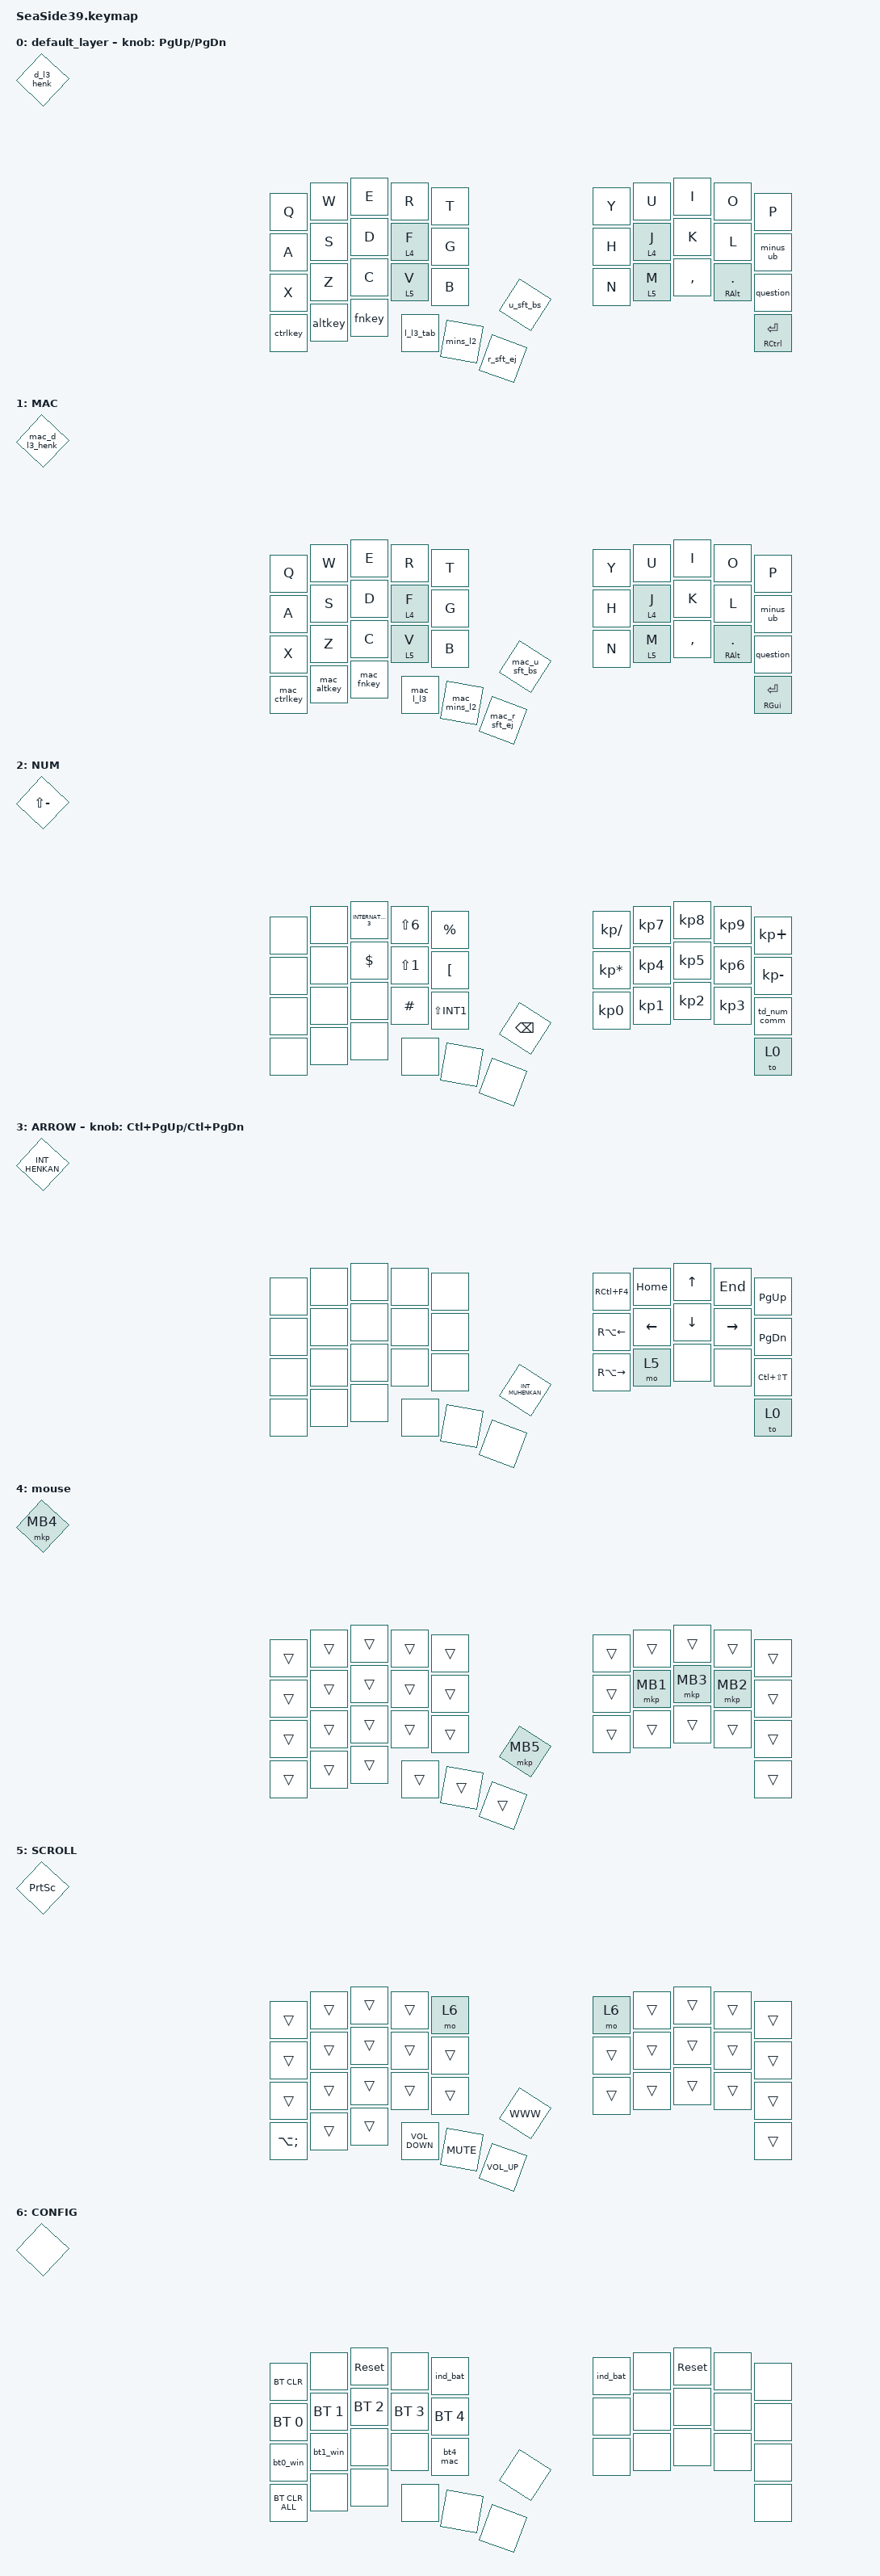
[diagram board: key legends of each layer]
#include <behaviors/rgbled_widget.dtsi>
#include <behaviors.dtsi>
#include <dt-bindings/zmk/bt.h>
#include <dt-bindings/zmk/keys.h>
#include <dt-bindings/zmk/pointing.h>

&mt {
    flavor = "balanced";
    quick-tap-ms = <300>;
};

&lt {
    flavor = "balanced";
    quick-tap-ms = <300>;
};

/ {
    combos {
        compatible = "zmk,combos";

        lgui {
            bindings = <&kp LEFT_GUI>;
            key-positions = <13 14>;
            layers = <0>;
        };

        rgui {
            bindings = <&kp RIGHT_GUI>;
            key-positions = <15 16>;
            layers = <0>;
        };

        esc {
            bindings = <&kp ESCAPE>;
            key-positions = <0 1>;
        };

        tab {
            bindings = <&kp TAB>;
            key-positions = <10 11>;
        };

        caps {
            bindings = <&kp CAPSLOCK>;
            key-positions = <20 21>;
        };

        del {
            bindings = <&kp DELETE>;
            key-positions = <5 6>;
        };

        mu1 {
            bindings = <&mkp MB1>;
            key-positions = <16 17>;
        };

        mb2 {
            bindings = <&mkp MB2>;
            key-positions = <17 18>;
        };

        mb3 {
            bindings = <&mkp MB3>;
            key-positions = <7 17>;
        };

        lbrc {
            bindings = <&kp RIGHT_BRACKET>;
            key-positions = <2 4>;
        };

        rbrc {
            bindings = <&kp BACKSLASH>;
            key-positions = <5 7>;
        };

        lkako {
            bindings = <&kp LS(NUMBER_8)>;
            key-positions = <12 14>;
        };

        rkako {
            bindings = <&kp LS(NUMBER_9)>;
            key-positions = <15 17>;
        };

        lsbr {
            bindings = <&kp LS(RIGHT_BRACKET)>;
            key-positions = <22 24>;
        };

        rsbr {
            bindings = <&kp LS(BACKSLASH)>;
            key-positions = <25 27>;
        };

        f2 {
            bindings = <&kp F2>;
            key-positions = <1 34>;
        };

        f3 {
            bindings = <&kp F3>;
            key-positions = <34 2>;
        };

        f4 {
            bindings = <&kp F4>;
            key-positions = <34 3>;
        };

        f5 {
            bindings = <&kp F5>;
            key-positions = <4 34>;
        };

        f6 {
            bindings = <&kp F6>;
            key-positions = <10 34>;
        };

        f7 {
            bindings = <&kp F7>;
            key-positions = <34 11>;
        };

        f8 {
            bindings = <&kp F8>;
            key-positions = <34 12>;
        };

        f9 {
            bindings = <&kp F9>;
            key-positions = <34 13>;
        };

        f10 {
            bindings = <&kt F10>;
            key-positions = <34 14>;
        };

        f11 {
            bindings = <&kp F11>;
            key-positions = <23 34>;
        };

        f12 {
            bindings = <&kp F12>;
            key-positions = <34 24>;
        };

        num {
            bindings = <&tog 2>;
            key-positions = <37 17 16 18>;
        };

        m_k1 {
            bindings = <&m_bracket>;
            key-positions = <2 3 4>;
        };

        m_k2 {
            bindings = <&m_kako>;
            key-positions = <12 13 14>;
        };

        m_k3 {
            bindings = <&m_sbracket>;
            key-positions = <22 23 24>;
        };

        arrow {
            bindings = <&tog 3>;
            key-positions = <6 7 8 37>;
        };

        WIN {
            bindings = <&to 0>;
            key-positions = <1 7 25>;
        };

        MAC {
            bindings = <&to 1>;
            key-positions = <10 22 26>;
        };

        mac_lctl {
            bindings = <&kp LCTRL>;
            key-positions = <13 14>;
            layers = <1>;
        };

        mac_rctl {
            bindings = <&kp RCTRL>;
            key-positions = <15 16>;
            layers = <1>;
        };

        up {
            bindings = <&kp UP_ARROW>;
            key-positions = <6 8>;
        };

        dw {
            bindings = <&kp DOWN>;
            key-positions = <16 18>;
        };

        le {
            bindings = <&kp LEFT>;
            key-positions = <6 7>;
        };

        ri {
            bindings = <&kp RIGHT>;
            key-positions = <7 8>;
        };
    };

    macros {
        to_layer_0: to_layer_0 {
            compatible = "zmk,behavior-macro-one-param";
            #binding-cells = <1>;
            bindings = <&to 0 &macro_param_1to1 &kp MACRO_PLACEHOLDER>;
            label = "TO_LAYER_0";
        };

        m_bracket: m_bracket {
            compatible = "zmk,behavior-macro";
            #binding-cells = <0>;
            bindings =
                <&macro_tap>,
                <&kp LANG1>,
                <&macro_release>,
                <&macro_tap>,
                <&kp RIGHT_BRACKET>,
                <&macro_release>,
                <&macro_tap>,
                <&kp BACKSLASH>,
                <&macro_release>,
                <&macro_tap>,
                <&kp ENTER>,
                <&macro_release>,
                <&macro_tap>,
                <&kp LEFT_ARROW>,
                <&macro_release>;

            label = "M_BRACKET";
        };

        m_kako: m_kako {
            compatible = "zmk,behavior-macro";
            #binding-cells = <0>;
            bindings =
                <&macro_tap>,
                <&kp LANGUAGE_2>,
                <&macro_release>,
                <&macro_tap>,
                <&kp LS(N8)>,
                <&macro_release>,
                <&macro_tap>,
                <&kp LS(N9)>,
                <&macro_release>,
                <&macro_tap>,
                <&kp LEFT_ARROW>,
                <&macro_release>;

            label = "M_KAKO";
        };

        m_sbracket: m_sbracket {
            compatible = "zmk,behavior-macro";
            #binding-cells = <0>;
            bindings =
                <&macro_tap>,
                <&kp LANGUAGE_2>,
                <&macro_release>,
                <&macro_tap>,
                <&kp LS(RIGHT_BRACKET)>,
                <&macro_release>,
                <&macro_tap>,
                <&kp LS(BACKSLASH)>,
                <&macro_release>,
                <&macro_tap>,
                <&kp LEFT_ARROW>,
                <&macro_release>;

            label = "M_SBRACKET";
        };

        bt0_win: bt0towin {
            compatible = "zmk,behavior-macro";
            #binding-cells = <0>;
            bindings =
                <&macro_tap>,
                <&bt BT_SEL 0>,
                <&macro_release>,
                <&macro_tap>,
                <&to 0>,
                <&macro_release>;

            label = "BT0TOWIN";
        };

        bt1_win: bt1_win {
            compatible = "zmk,behavior-macro";
            #binding-cells = <0>;
            bindings =
                <&macro_tap>,
                <&bt BT_SEL 1>,
                <&macro_release>,
                <&macro_tap>,
                <&to 0>,
                <&macro_release>;

            label = "BT1_WIN";
        };

        bt4_mac: bt4_mac {
            compatible = "zmk,behavior-macro";
            #binding-cells = <0>;
            bindings =
                <&macro_tap>,
                <&bt BT_SEL 4>,
                <&macro_release>,
                <&macro_tap>,
                <&to 1>,
                <&macro_release>;

            label = "BT4_MAC";
        };
    };

    behaviors {
        td_quot: td_quot {
            compatible = "zmk,behavior-tap-dance";
            label = "TD_QUOT";
            #binding-cells = <0>;
            bindings = <&lt 5 LS(NUMBER_2)>, <&kp RS(N7)>;

            tapping-term-ms = <200>;
        };

        td_coln: td_coln {
            compatible = "zmk,behavior-tap-dance";
            label = "TD_COLN";
            #binding-cells = <0>;
            bindings = <&mt_tr190 LEFT_ALT SINGLE_QUOTE>, <&kp SEMI>;

            tapping-term-ms = <200>;
        };

        td_ej: td_ej {
            compatible = "zmk,behavior-tap-dance";
            label = "TD_EJ";
            #binding-cells = <0>;
            bindings = <&mt_tr190 LSHFT LANGUAGE_2>, <&kp LANGUAGE_1>;

            tapping-term-ms = <190>;
        };

        td_num_comm: td_num_comm {
            compatible = "zmk,behavior-tap-dance";
            label = "TD_NUM_COMM";
            #binding-cells = <0>;
            bindings = <&kp KP_DOT>, <&kp COMMA>;

            tapping-term-ms = <180>;
        };

        lt_tr190: lt_tr190 {
            compatible = "zmk,behavior-hold-tap";
            label = "LT_TR190";
            bindings = <&mo>, <&kp>;

            #binding-cells = <2>;
            tapping-term-ms = <190>;
            flavor = "tap-preferred";
            quick-tap-ms = <190>;
        };

        mt_tr190: mt_tr190 {
            compatible = "zmk,behavior-hold-tap";
            label = "MT_TR190";
            bindings = <&kp>, <&kp>;

            #binding-cells = <2>;
            tapping-term-ms = <190>;
            flavor = "hold-preferred";
            quick-tap-ms = <190>;
        };

        minus_ub: minus_ub {
            compatible = "zmk,behavior-mod-morph";
            label = "MINUS_UB";
            bindings = <&kp MINUS>, <&kp LS(INTERNATIONAL_1)>;

            #binding-cells = <0>;
            mods = <(MOD_RSFT|MOD_LSFT)>;
        };

        question: question {
            compatible = "zmk,behavior-mod-morph";
            label = "QUESTION";
            bindings = <&kp LS(SLASH)>, <&kp SLASH>;

            #binding-cells = <0>;
            mods = <(MOD_LSFT|MOD_RSFT)>;
        };

        fnkey: fnkey {
            compatible = "zmk,behavior-mod-morph";
            label = "FNKEY";
            bindings = <&td_quot>, <&kp LS(LEFT_BRACKET)>;

            #binding-cells = <0>;
            mods = <(MOD_LSFT|MOD_RSFT)>;
        };

        altkey: altkey {
            compatible = "zmk,behavior-mod-morph";
            label = "ALTKEY";
            bindings = <&td_coln>, <&kp LS(INTERNATIONAL_3)>;

            #binding-cells = <0>;
            mods = <(MOD_LSFT|MOD_RSFT)>;
        };

        ctrlkey: ctrlkey {
            compatible = "zmk,behavior-mod-morph";
            label = "CTRLKEY";
            bindings = <&mt_tr190 LCTRL LS(EQUAL)>, <&kp EQUAL>;

            #binding-cells = <0>;
            mods = <(MOD_LSFT|MOD_RSFT)>;
        };

        r_sft_ej: r_sft_ej {
            compatible = "zmk,behavior-mod-morph";
            label = "R_SFT_EJ";
            bindings = <&mt LEFT_SHIFT LANG2>, <&kp LANG1>;

            #binding-cells = <0>;
            mods = <(MOD_LSFT|MOD_RSFT)>;
        };

        l_l3_tab: l_l3_tab {
            compatible = "zmk,behavior-mod-morph";
            label = "L_L3_TAB";
            bindings = <&lt 3 TAB>, <&kp LC(Z)>;

            #binding-cells = <0>;
            mods = <(MOD_LSFT|MOD_RSFT)>;
        };

        u_sft_bs: u_sft_bs {
            compatible = "zmk,behavior-mod-morph";
            label = "U_SFT_BS";
            bindings = <&mt_tr190 RIGHT_SHIFT BACKSPACE>, <&kp RC(C)>;

            #binding-cells = <0>;
            mods = <(MOD_LSFT|MOD_RSFT)>;
        };

        d_l3_henk: d_l3_henk {
            compatible = "zmk,behavior-mod-morph";
            label = "D_L3_HENK";
            bindings = <&lt 3 INT_HENKAN>, <&kp LC(V)>;

            #binding-cells = <0>;
            mods = <(MOD_LSFT|MOD_RSFT)>;
        };

        mac_ctrlkey: mac_ctrlkey {
            compatible = "zmk,behavior-mod-morph";
            label = "MAC_CTRLKEY";
            bindings = <&mt_tr190 LEFT_GUI LS(EQUAL)>, <&kp EQUAL>;

            #binding-cells = <0>;
            mods = <(MOD_LSFT|MOD_RSFT)>;
        };

        mac_d_l3_henk: mac_d_l3_henk {
            compatible = "zmk,behavior-mod-morph";
            label = "MAC_D_L3_HENK";
            bindings = <&lt 3 SPACE>, <&kp RG(V)>;

            #binding-cells = <0>;
            mods = <(MOD_LSFT|MOD_RSFT)>;
        };

        mac_u_sft_bs: mac_u_sft_bs {
            compatible = "zmk,behavior-mod-morph";
            label = "MAC_U_SFT_BS";
            bindings = <&mt_tr190 RIGHT_SHIFT BACKSPACE>, <&kp RG(C)>;

            #binding-cells = <0>;
            mods = <(MOD_LSFT|MOD_RSFT)>;
        };

        mac_l_l3: mac_l_l3 {
            compatible = "zmk,behavior-mod-morph";
            label = "MAC_L_L3";
            bindings = <&lt 3 TAB>, <&kp RG(Z)>;

            #binding-cells = <0>;
            mods = <(MOD_LSFT|MOD_RSFT)>;
        };

        mac_r_sft_ej: mac_r_sft_ej {
            compatible = "zmk,behavior-mod-morph";
            label = "MAC_R_SFT_EJ";
            bindings = <&mt LEFT_SHIFT LANG2>, <&kp LANGUAGE_1>;

            #binding-cells = <0>;
            mods = <(MOD_LSFT|MOD_RSFT)>;
        };

        mac_fnkey: mac_fnkey {
            compatible = "zmk,behavior-mod-morph";
            label = "MAC_FNKEY";
            bindings = <&td_quot>, <&kp LS(GRAVE)>;

            #binding-cells = <0>;
            mods = <(MOD_LSFT|MOD_RSFT)>;
        };

        mac_altkey: mac_altkey {
            compatible = "zmk,behavior-mod-morph";
            label = "MAC_ALTKEY";
            bindings = <&td_coln>, <&kp LS(INTERNATIONAL_3)>;

            #binding-cells = <0>;
            mods = <(MOD_LSFT|MOD_RSFT)>;
        };

        mins_l2: mins_l2 {
            compatible = "zmk,behavior-mod-morph";
            label = "MINS_L2";
            bindings = <&lt 2 SPACE>, <&kp LC(X)>;

            #binding-cells = <0>;
            mods = <(MOD_LSFT|MOD_RSFT)>;
        };

        mac_mins_l2: mac_mins_l2 {
            compatible = "zmk,behavior-mod-morph";
            label = "MAC_MINS_L2";
            bindings = <&lt 2 SPACE>, <&kp RG(X)>;

            #binding-cells = <0>;
            mods = <(MOD_LSFT|MOD_RSFT)>;
        };

        soft_off_hold: soft_off_hold {
            compatible = "zmk,behavior-soft-off";
            #binding-cells = <0>;
            hold-time-ms = <3000>;
        };
    };

    keymap {
        compatible = "zmk,keymap";

        default_layer {
            bindings = <
&kp Q     &kp W    &kp E   &kp R          &kp T                               &kp Y       &kp U          &kp I      &kp O                       &kp P
&kp A     &kp S    &kp D   &lt_tr190 4 F  &kp G                               &kp H       &lt_tr190 4 J  &kp K      &kp L                       &minus_ub
&kp X     &kp Z    &kp C   &lt_tr190 5 V  &kp B                               &kp N       &lt_tr190 5 M  &kp COMMA  &mt_tr190 RIGHT_ALT PERIOD  &question
&ctrlkey  &altkey  &fnkey  &l_l3_tab      &mins_l2  &r_sft_ej      &u_sft_bs  &d_l3_henk                                                        &mt_tr190 RCTRL ENTER
            >;

            sensor-bindings = <&inc_dec_kp PG_UP PAGE_DOWN>;
        };

        MAC {
            bindings = <
&kp Q         &kp W        &kp E       &kp R          &kp T                                           &kp Y           &kp U          &kp I      &kp O                       &kp P
&kp A         &kp S        &kp D       &lt_tr190 4 F  &kp G                                           &kp H           &lt_tr190 4 J  &kp K      &kp L                       &minus_ub
&kp X         &kp Z        &kp C       &lt_tr190 5 V  &kp B                                           &kp N           &lt_tr190 5 M  &kp COMMA  &mt_tr190 RIGHT_ALT PERIOD  &question
&mac_ctrlkey  &mac_altkey  &mac_fnkey  &mac_l_l3      &mac_mins_l2  &mac_r_sft_ej      &mac_u_sft_bs  &mac_d_l3_henk                                                        &mt_tr190 RIGHT_GUI ENTER
            >;
        };

        NUM {
            bindings = <
&none  &none  &kp INTERNATIONAL_3  &kp LS(NUMBER_6)  &kp PERCENT                                 &kp KP_SLASH     &kp KP_NUMBER_7  &kp KP_NUMBER_8  &kp KP_NUMBER_9  &kp KP_PLUS
&none  &none  &kp DOLLAR           &kp LS(NUMBER_1)  &kp LEFT_BRACKET                            &kp KP_ASTERISK  &kp KP_NUMBER_4  &kp KP_NUMBER_5  &kp KP_NUMBER_6  &kp KP_MINUS
&none  &none  &none                &kp HASH          &kp LS(INT1)                                &kp KP_N0        &kp KP_NUMBER_1  &kp KP_NUMBER_2  &kp KP_NUMBER_3  &td_num_comm
&none  &none  &none                &none             &none             &none      &kp BACKSPACE  &kp LS(MINUS)                                                       &to 0
            >;
        };

        ARROW {
            bindings = <
&none  &none  &none  &none  &none                               &kp RC(F4)          &kp HOME        &kp UP_ARROW    &kp END          &kp PAGE_UP
&none  &none  &none  &none  &none                               &kp RA(LEFT_ARROW)  &kp LEFT_ARROW  &kp DOWN_ARROW  &kp RIGHT_ARROW  &kp PAGE_DOWN
&none  &none  &none  &none  &none                               &kp RA(RIGHT)       &mo 5           &none           &none            &kp LC(LS(T))
&none  &none  &none  &none  &none  &none      &kp INT_MUHENKAN  &kp INT_HENKAN                                                       &to 0
            >;

            sensor-bindings = <&inc_dec_kp LC(PAGE_UP) LC(PAGE_DOWN)>;
        };

        mouse {
            bindings = <
&trans  &trans  &trans  &trans  &trans                        &trans    &trans    &trans    &trans    &trans
&trans  &trans  &trans  &trans  &trans                        &trans    &mkp MB1  &mkp MB3  &mkp MB2  &trans
&trans  &trans  &trans  &trans  &trans                        &trans    &trans    &trans    &trans    &trans
&trans  &trans  &trans  &trans  &trans  &trans      &mkp MB5  &mkp MB4                                &trans
            >;
        };

        SCROLL {
            bindings = <
&trans             &trans  &trans  &trans             &mo 6                                       &mo 6            &trans  &trans  &trans  &trans
&trans             &trans  &trans  &trans             &trans                                      &trans           &trans  &trans  &trans  &trans
&trans             &trans  &trans  &trans             &trans                                      &trans           &trans  &trans  &trans  &trans
&kp LA(SEMICOLON)  &trans  &trans  &kp C_VOLUME_DOWN  &kp C_MUTE  &kp C_VOLUME_UP      &kp K_WWW  &kp PRINTSCREEN                          &trans
            >;
        };

        CONFIG {
            bindings = <
&bt BT_CLR      &none         &sys_reset    &none         &ind_bat                        &ind_bat  &none  &sys_reset  &none  &none
&bt BT_SEL 0    &bt BT_SEL 1  &bt BT_SEL 2  &bt BT_SEL 3  &bt BT_SEL 4                    &none     &none  &none       &none  &none
&bt0_win        &bt1_win      &none         &none         &bt4_mac                        &none     &none  &none       &none  &none
&bt BT_CLR_ALL  &none         &none         &none         &none         &none      &none  &none                               &none
            >;
        };
    };
};
